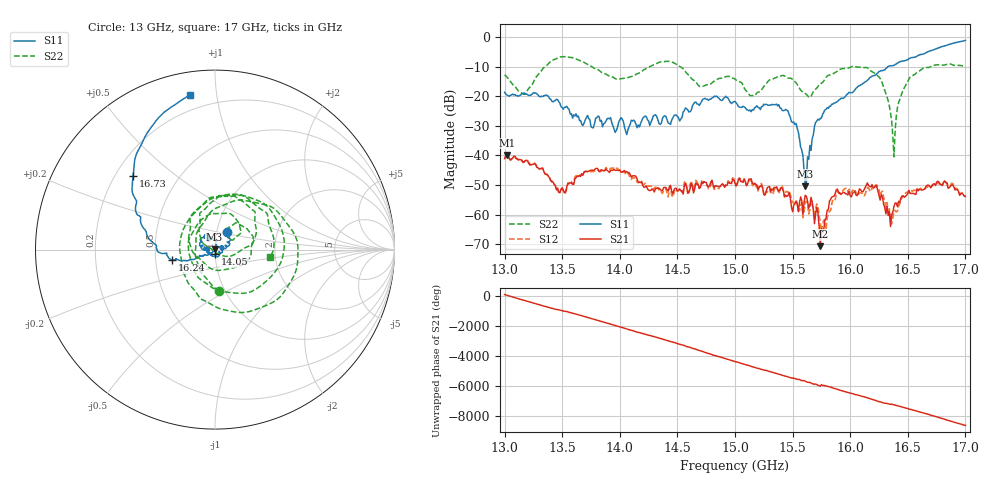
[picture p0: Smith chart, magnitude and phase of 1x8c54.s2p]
!Keysight Technologies,P9374A,MY57211807,A.19.30.04
!Date: Friday, May 08, 2026 15:12:19
!Correction: S11(C  2-Port  )
!S21(C  2-Port  )
!S12(C  2-Port  )
!S22(C  2-Port  )
!S2P File: Measurements: S11, S21, S12, S22:
# Hz S  dB  R 50
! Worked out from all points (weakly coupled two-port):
!   401 points, 13 GHz to 17 GHz, reference 50 ohm
!   highest |S21| = -39.80 dB at 13.02 GHz (marker M1); lowest = -70.6 dB at 15.74 GHz (marker M2)
!   lowest |S11| = -50.4 dB at 15.61 GHz (marker M3), VSWR 1.01, Z = 49.7 + j0.114 ohm
!   |S11| at or under -10 dB: start of sweep to 16.33 GHz
!   |S22| runs from -40.4 to -6.6 dB; largest |S21 - S12| = 0.0007
!   S11 on the Smith chart (normalised r, x): 13 GHz: 1.12, +0.22; 14.05 GHz: 1.00, -0.05; 16.24 GHz: 0.61, -0.08; 16.73 GHz: 0.27, +0.36; 17 GHz: 0.12, +0.85
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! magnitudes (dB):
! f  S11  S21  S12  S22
! 13 GHz  -18.7  -41.1  -41.1  -12.8
! 13.02 GHz  -19.5  -39.8  -39.9  -13.5
! 13.17 GHz  -18.9  -42.2  -42.1  -19.3
! 13.47 GHz  -21.9  -52.3  -52.5  -6.9
! 13.67 GHz  -29.5  -46.2  -46.2  -8.2
! 14.05 GHz  -31.7  -45.7  -46.3  -13.9
! 14.34 GHz  -29.2  -51.1  -51.6  -8.6
! 14.7 GHz  -22.4  -50.8  -50.3  -16.8
! 15 GHz  -21.7  -49.3  -49.3  -14.2
! 15.15 GHz  -24.5  -49.2  -49.8  -19.7
! 15.45 GHz  -24.7  -53.8  -52.1  -13.8
! 15.54 GHz  -30.8  -56.3  -56.3  -16.0
! 15.61 GHz  -50.4  -53.4  -55.6  -19.1
! 15.67 GHz  -34.3  -55.7  -56.3  -19.3
! 15.74 GHz  -27.5  -70.6  -62.8  -15.9
! 15.87 GHz  -22.2  -52.8  -54.9  -12.0
! 16.24 GHz  -12.1  -51.9  -51.0  -13.2
! 16.34 GHz  -9.8  -58.9  -58.0  -23.3
! 16.38 GHz  -9.6  -57.1  -59.2  -40.4
! 16.51 GHz  -7.3  -51.8  -51.8  -14.2
! 16.73 GHz  -4.2  -49.6  -50.0  -9.5
! 17 GHz  -1.2  -53.8  -54.0  -10.2
